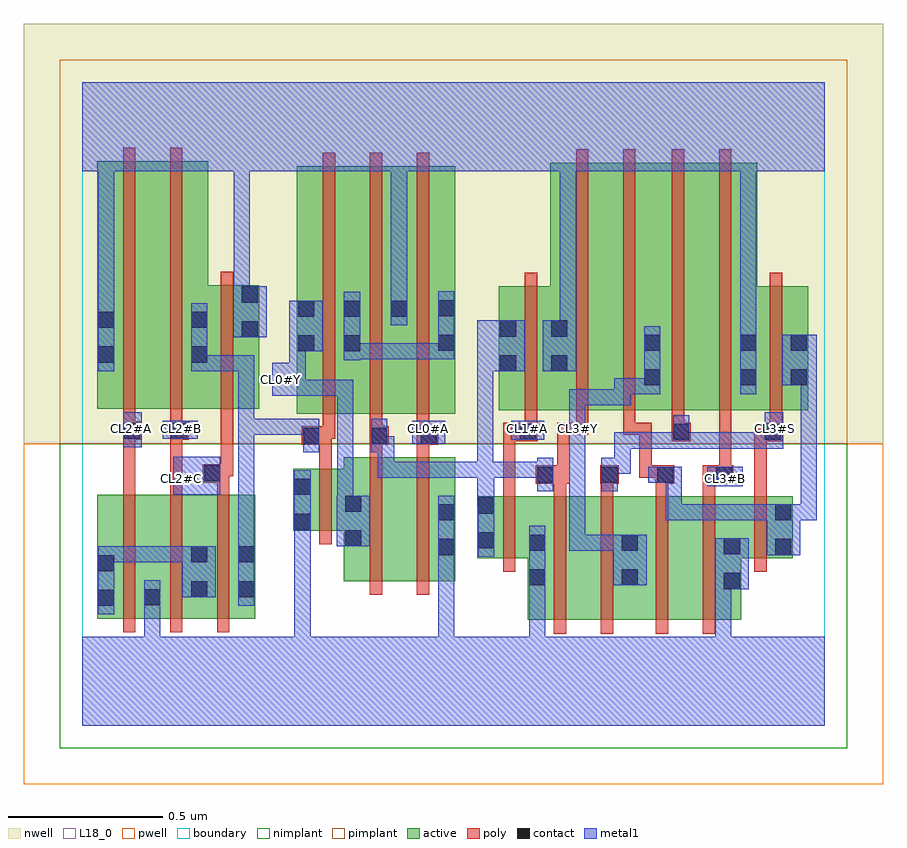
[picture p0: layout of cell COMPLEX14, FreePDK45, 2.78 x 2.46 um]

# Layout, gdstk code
import gdstk
lib = gdstk.Library(unit=1e-6, precision=1e-09)
def R(c, l, rs):  # rectangles x0, y0, x1, y1
    for r in rs: c.add(gdstk.rectangle(r[:2], r[2:], *l))
def A(c, l, x, y, w, h, nx, ny, dx, dy):  # array of equal rectangles
    R(c, l, [(x+i*dx, y+j*dy, x+i*dx+w, y+j*dy+h) for i in range(nx) for j in range(ny)])
active = (1, 0)
pwell = (2, 0)
nwell = (3, 0)
nimplant = (4, 0)
pimplant = (5, 0)
poly = (9, 0)
contact = (10, 0)
metal1 = (11, 0)
L18_0 = (18, 0)
boundary = (235, 0)

complex14 = lib.new_cell('COMPLEX14')
R(complex14, active, [(1.44,0.342,1.62,0.742), (1.62,0.342,1.8,0.742), (1.74,0.342,1.95,0.742), (1.95,0.342,2.13,0.742), (2.07,0.342,2.13,0.61), (0.048,0.346,0.256,0.746), (0.196,0.346,0.408,0.746), (0.196,0.346,0.256,0.474), (0.348,0.346,0.56,0.746), (0.048,0.356,0.108,0.746), (0.348,0.356,0.408,0.584), (0.5,0.356,0.56,0.746), (1.74,0.356,1.8,0.622), (1.44,0.45,1.5,0.742), (0.846,0.468,1.026,0.868), (1.026,0.468,1.206,0.868), (1.146,0.468,1.206,0.868), (1.276,0.542,1.5,0.742), (2.07,0.542,2.296,0.742), (2.236,0.548,2.296,0.742), (1.276,0.57,1.336,0.742), (0.846,0.576,0.906,0.83), (0.682,0.63,0.906,0.83), (0.682,0.63,0.742,0.83), (0.694,1.008,0.754,1.724), (0.694,1.008,0.902,1.808), (0.842,1.008,1.054,1.808), (0.994,1.008,1.206,1.808), (1.146,1.008,1.206,1.724), (1.346,1.02,1.406,1.356), (1.346,1.02,1.572,1.42), (1.512,1.02,1.572,1.356), (1.512,1.02,1.692,1.82), (1.692,1.02,1.872,1.82), (1.812,1.02,2.002,1.82), (2.002,1.02,2.182,1.82), (2.122,1.02,2.182,1.356), (2.122,1.02,2.346,1.42), (2.286,1.02,2.346,1.356), (0.048,1.024,0.228,1.824), (0.048,1.024,0.108,1.756), (0.228,1.024,0.408,1.824), (0.348,1.024,0.572,1.424), (0.348,1.024,0.408,1.724), (0.512,1.024,0.572,1.424), (1.812,1.096,1.872,1.724), (0.842,1.206,0.902,1.724), (0.994,1.206,1.054,1.756)])
R(complex14, pwell, [(-0.188,-0.188,2.588,0.912)])
R(complex14, nwell, [(-0.188,0.912,2.588,2.268)])
R(complex14, nimplant, [(-0.072,-0.072,2.472,0.912)])
R(complex14, pimplant, [(-0.072,0.912,2.472,2.152)])
A(complex14, poly, 0.132, 0.302, 0.04, 0.488, 3, 1, 0.152, 0)
A(complex14, poly, 0.778, 0.928, 0.04, 0.076, 3, 1, 0.152, 0)
A(complex14, poly, 0.778, 0.964, 0.04, 0.888, 3, 1, 0.152, 0)
R(complex14, poly, [(1.524,0.298,1.564,0.786), (1.676,0.298,1.716,0.786), (1.854,0.298,1.894,0.786), (2.006,0.298,2.046,0.786), (0.93,0.424,0.97,0.912), (1.082,0.424,1.122,0.912), (1.36,0.498,1.4,0.786), (2.172,0.498,2.212,0.786), (0.766,0.586,0.806,0.874), (1.36,0.746,1.4,0.96), (1.524,0.746,1.564,0.822), (1.676,0.746,1.716,0.822), (1.854,0.746,1.894,0.822), (2.006,0.746,2.046,0.822), (2.172,0.746,2.212,0.96), (0.132,0.75,0.172,0.964), (0.284,0.75,0.324,0.964), (0.436,0.75,0.476,0.826), (1.466,0.782,1.576,0.842), (1.674,0.782,1.734,0.842), (1.854,0.782,1.914,0.842), (2.006,0.782,2.104,0.842), (0.39,0.786,0.476,0.846), (1.536,0.802,1.576,0.98), (1.8,0.802,1.84,0.842), (1.8,0.802,1.894,0.842), (1.8,0.802,1.84,0.98), (2.058,0.802,2.098,0.842), (2.058,0.802,2.098,0.842), (2.058,0.802,2.098,1.016), (0.436,0.806,0.476,0.846), (0.436,0.806,0.488,0.846), (0.448,0.806,0.488,1.02), (0.766,0.834,0.806,0.948), (0.93,0.872,0.97,0.948), (1.082,0.872,1.122,0.948), (0.71,0.908,0.806,0.968), (0.93,0.908,0.99,0.968), (1.082,0.908,1.122,0.948), (1.082,0.908,1.122,0.948), (1.082,0.908,1.15,0.968), (1.36,0.92,1.4,0.96), (1.36,0.92,1.4,0.96), (1.36,0.92,1.47,0.98), (1.906,0.92,1.966,0.98), (2.172,0.92,2.242,0.96), (2.202,0.92,2.242,0.96), (2.202,0.92,2.262,0.98), (0.132,0.924,0.172,0.964), (0.132,0.924,0.172,0.964), (0.132,0.924,0.192,0.984), (0.284,0.924,0.324,0.964), (0.284,0.924,0.324,0.964), (0.284,0.924,0.344,0.984), (0.766,0.928,0.806,0.968), (0.766,0.928,0.818,0.968), (0.93,0.928,0.97,0.968), (0.93,0.928,0.97,0.968), (1.43,0.94,1.47,1.016), (1.536,0.94,1.636,0.98), (1.596,0.94,1.636,1.016), (1.748,0.94,1.788,1.016), (1.748,0.94,1.788,0.98), (1.748,0.94,1.84,0.98), (1.8,0.94,1.84,0.98), (1.906,0.94,1.946,1.016), (2.222,0.94,2.262,1.016), (0.132,0.944,0.172,1.02), (0.284,0.944,0.324,1.02), (1.43,0.976,1.47,1.464), (1.596,0.976,1.636,1.864), (1.748,0.976,1.788,1.864), (1.906,0.976,1.946,1.864), (2.058,0.976,2.098,1.864), (2.222,0.976,2.262,1.464), (0.132,0.98,0.172,1.868), (0.284,0.98,0.324,1.868), (0.448,0.98,0.488,1.468)])
R(complex14, contact, [(0.052,0.388,0.104,0.44), (0.2,0.39,0.252,0.442), (0.352,0.416,0.404,0.468), (0.504,0.416,0.556,0.468), (2.074,0.442,2.126,0.494), (1.444,0.454,1.496,0.506), (1.744,0.454,1.796,0.506), (0.052,0.5,0.104,0.552), (0.352,0.528,0.404,0.58), (0.504,0.528,0.556,0.58), (1.15,0.552,1.202,0.604), (2.24,0.552,2.292,0.604), (2.074,0.554,2.126,0.606), (1.444,0.566,1.496,0.618), (1.744,0.566,1.796,0.618), (1.28,0.574,1.332,0.626), (0.85,0.58,0.902,0.632), (0.686,0.634,0.738,0.686), (1.15,0.664,1.202,0.716), (2.24,0.664,2.292,0.716), (1.28,0.686,1.332,0.738), (0.85,0.692,0.902,0.744), (0.686,0.746,0.738,0.798), (1.47,0.786,1.522,0.838), (1.678,0.786,1.73,0.838), (1.858,0.786,1.91,0.838), (2.048,0.786,2.1,0.838), (0.394,0.79,0.446,0.842), (0.714,0.912,0.766,0.964), (0.934,0.912,0.986,0.964), (1.094,0.912,1.146,0.964), (1.414,0.924,1.466,0.976), (1.91,0.924,1.962,0.976), (2.206,0.924,2.258,0.976), (0.136,0.928,0.188,0.98), (0.288,0.928,0.34,0.98), (1.816,1.1,1.868,1.152), (2.126,1.1,2.178,1.152), (2.29,1.1,2.342,1.152), (1.35,1.146,1.402,1.198), (1.516,1.146,1.568,1.198), (0.052,1.174,0.104,1.226), (0.352,1.174,0.404,1.226), (0.698,1.21,0.75,1.262), (0.846,1.21,0.898,1.262), (1.15,1.212,1.202,1.264), (1.816,1.212,1.868,1.264), (2.126,1.212,2.178,1.264), (2.29,1.212,2.342,1.264), (0.516,1.256,0.568,1.308), (1.35,1.258,1.402,1.31), (1.516,1.258,1.568,1.31), (0.052,1.286,0.104,1.338), (0.352,1.286,0.404,1.338), (0.698,1.322,0.75,1.374), (0.846,1.322,0.898,1.374), (0.998,1.322,1.05,1.374), (1.15,1.324,1.202,1.376), (0.516,1.368,0.568,1.42)])
R(complex14, metal1, [(0,0,2.4,0.288), (0.2,0.236,0.252,0.414), (0.686,0.236,0.738,0.288), (0.686,0.236,0.738,0.288), (0.686,0.236,0.738,0.658), (1.15,0.236,1.202,0.576), (1.444,0.236,1.496,0.478), (2.046,0.236,2.098,0.494), (0.052,0.36,0.104,0.58), (0.2,0.362,0.252,0.414), (0.2,0.362,0.252,0.414), (0.2,0.362,0.252,0.47), (0.504,0.388,0.556,0.608), (0.324,0.416,0.432,0.58), (1.444,0.426,1.496,0.478), (1.444,0.426,1.496,0.478), (1.444,0.426,1.496,0.646), (2.046,0.442,2.098,0.494), (2.046,0.442,2.098,0.494), (2.046,0.442,2.154,0.606), (1.716,0.454,1.824,0.618), (1.15,0.524,1.202,0.576), (1.15,0.524,1.202,0.576), (1.15,0.524,1.202,0.744), (0.052,0.528,0.104,0.58), (0.052,0.528,0.104,0.58), (0.052,0.528,0.236,0.58), (0.184,0.528,0.236,0.58), (0.184,0.528,0.236,0.58), (0.184,0.528,0.236,0.58), (0.184,0.528,0.376,0.58), (1.28,0.546,1.332,0.766), (2.212,0.552,2.32,0.716), (0.504,0.556,0.556,0.992), (1.574,0.566,1.626,0.618), (1.574,0.566,1.768,0.618), (1.574,0.566,1.626,0.958), (1.716,0.566,1.768,0.618), (1.716,0.566,1.768,0.618), (0.822,0.58,0.93,0.744), (0.686,0.606,0.738,0.658), (0.686,0.606,0.738,0.658), (0.686,0.606,0.738,0.658), (0.686,0.606,0.738,0.658), (0.686,0.606,0.738,0.826), (1.886,0.664,1.938,0.716), (1.886,0.664,2.114,0.716), (1.886,0.664,1.938,0.838), (2.062,0.664,2.114,0.716), (2.062,0.664,2.114,0.716), (2.062,0.664,2.114,0.716), (2.062,0.664,2.264,0.716), (2.212,0.664,2.264,0.716), (2.212,0.664,2.264,0.716), (2.268,0.664,2.32,0.716), (2.268,0.664,2.374,0.716), (2.322,0.664,2.374,1.152), (2.322,0.664,2.374,0.716), (2.322,0.664,2.374,0.716), (0.824,0.692,0.876,0.744), (0.824,0.692,0.876,0.744), (0.824,0.692,0.876,1.118), (1.276,0.714,1.332,0.854), (1.28,0.714,1.332,0.766), (0.294,0.746,0.446,0.87), (1.47,0.758,1.522,0.866), (1.678,0.758,1.73,0.866), (2.02,0.774,2.134,0.838), (1.83,0.786,1.938,0.838), (1.886,0.786,1.938,0.838), (1.886,0.786,1.938,0.838), (0.956,0.802,1.008,0.936), (0.956,0.802,1.218,0.854), (1.166,0.802,1.218,0.854), (1.166,0.802,1.218,0.854), (1.166,0.802,1.218,0.854), (1.166,0.802,1.328,0.854), (1.276,0.802,1.328,0.854), (1.276,0.802,1.328,0.854), (1.276,0.802,1.328,1.198), (1.28,0.802,1.332,0.854), (1.28,0.802,1.332,0.854), (1.28,0.802,1.516,0.854), (1.464,0.802,1.516,0.854), (1.464,0.802,1.522,0.854), (1.678,0.814,1.772,0.866), (1.72,0.814,1.772,0.866), (1.72,0.814,1.772,0.948), (0.714,0.884,0.766,0.992), (0.934,0.884,0.986,0.992), (0.934,0.884,1.008,0.936), (1.72,0.896,1.772,0.948), (1.72,0.896,1.962,0.948), (1.91,0.896,1.962,0.948), (1.91,0.896,1.962,0.948), (1.91,0.896,2.072,0.948), (1.91,0.896,1.962,1.004), (2.02,0.896,2.072,0.948), (2.02,0.896,2.072,0.948), (2.02,0.896,2.072,0.948), (2.02,0.896,2.258,0.948), (2.206,0.896,2.266,1.014), (0.132,0.9,0.192,1.014), (1.574,0.906,1.626,1.014), (1.066,0.912,1.174,0.986), (1.386,0.924,1.494,0.986), (0.26,0.928,0.374,0.986), (0.504,0.94,0.556,0.992), (0.504,0.94,0.556,0.992), (0.504,0.94,0.556,0.992), (0.504,0.94,0.556,1.198), (0.504,0.94,0.766,0.992), (1.574,0.962,1.626,1.088), (1.574,1.036,1.626,1.088), (1.574,1.036,1.626,1.088), (1.574,1.036,1.626,1.088), (1.574,1.036,1.772,1.088), (1.72,1.036,1.772,1.124), (0.614,1.066,0.722,1.174), (0.67,1.066,0.876,1.118), (0.824,1.066,0.876,1.118), (0.824,1.066,0.876,1.118), (0.824,1.066,0.876,1.118), (1.72,1.072,1.868,1.124), (1.816,1.072,1.868,1.292), (2.126,1.072,2.178,1.292), (2.262,1.1,2.374,1.264), (0.67,1.122,0.722,1.262), (0.052,1.146,0.104,1.366), (0.352,1.146,0.404,1.198), (0.352,1.146,0.404,1.198), (0.352,1.146,0.404,1.366), (0.352,1.146,0.556,1.198), (0.504,1.146,0.556,1.198), (0.504,1.146,0.556,1.198), (0.504,1.146,0.556,1.198), (1.276,1.146,1.43,1.31), (1.488,1.146,1.596,1.31), (0.846,1.182,0.898,1.402), (0.846,1.184,1.008,1.236), (0.956,1.184,1.008,1.236), (0.956,1.184,1.008,1.236), (0.956,1.184,1.008,1.236), (0.956,1.184,1.202,1.236), (1.15,1.184,1.202,1.236), (1.15,1.184,1.202,1.236), (1.15,1.184,1.202,1.404), (0.67,1.21,0.778,1.374), (2.126,1.24,2.178,1.844), (0.488,1.256,0.596,1.42), (1.544,1.258,1.596,1.844), (0.998,1.294,1.05,1.402), (0.052,1.314,0.104,1.844), (0.998,1.35,1.05,1.844), (0.49,1.368,0.542,1.42), (0.49,1.368,0.542,1.42), (0.49,1.368,0.542,1.42), (0.49,1.368,0.542,1.42), (0.49,1.368,0.542,1.42), (0.49,1.368,0.542,1.42), (0.49,1.368,0.542,1.42), (0.49,1.368,0.542,1.42), (0.49,1.368,0.542,1.844), (0,1.792,2.4,2.08)])
R(complex14, L18_0, [(0,0,2.4,0.288), (0.2,0.236,0.252,0.414), (0.686,0.236,0.738,0.288), (0.686,0.236,0.738,0.288), (0.686,0.236,0.738,0.658), (1.15,0.236,1.202,0.576), (1.444,0.236,1.496,0.478), (2.046,0.236,2.098,0.494), (0.2,0.362,0.252,0.414), (0.2,0.362,0.252,0.414), (0.2,0.362,0.252,0.47), (1.444,0.426,1.496,0.646), (1.444,0.426,1.496,0.478), (1.444,0.426,1.496,0.478), (2.046,0.442,2.098,0.494), (2.046,0.442,2.098,0.494), (2.046,0.442,2.154,0.606), (1.716,0.454,1.824,0.618), (1.15,0.524,1.202,0.744), (1.15,0.524,1.202,0.576), (1.15,0.524,1.202,0.576), (1.574,0.566,1.626,0.618), (1.574,0.566,1.626,0.958), (1.574,0.566,1.768,0.618), (1.716,0.566,1.768,0.618), (1.716,0.566,1.768,0.618), (0.822,0.58,0.93,0.744), (0.686,0.606,0.738,0.826), (0.686,0.606,0.738,0.658), (0.686,0.606,0.738,0.658), (0.686,0.606,0.738,0.658), (0.686,0.606,0.738,0.658), (0.824,0.692,0.876,0.744), (0.824,0.692,0.876,0.744), (0.824,0.692,0.876,1.118), (0.294,0.746,0.446,0.87), (1.678,0.758,1.73,0.866), (0.294,0.774,0.346,0.826), (2.02,0.774,2.134,0.838), (2.054,0.774,2.106,0.826), (1.678,0.814,1.772,0.866), (1.72,0.814,1.772,0.866), (1.72,0.814,1.772,0.948), (1.72,0.896,1.772,0.948), (1.72,0.896,1.962,0.948), (1.91,0.896,1.962,0.948), (1.91,0.896,1.962,0.948), (1.91,0.896,1.962,1.004), (1.91,0.896,2.072,0.948), (2.02,0.896,2.072,0.948), (2.02,0.896,2.072,0.948), (2.02,0.896,2.072,0.948), (2.02,0.896,2.258,0.948), (2.206,0.896,2.266,1.014), (0.132,0.9,0.192,1.014), (1.574,0.906,1.626,1.014), (1.066,0.912,1.174,0.986), (1.386,0.924,1.494,0.986), (0.26,0.928,0.374,0.986), (0.134,0.934,0.186,0.986), (0.294,0.934,0.346,0.986), (1.094,0.934,1.146,0.986), (1.414,0.934,1.466,0.986), (1.574,0.934,1.626,0.986), (2.214,0.934,2.266,0.986), (1.574,0.962,1.626,1.088), (1.574,1.036,1.626,1.088), (1.574,1.036,1.626,1.088), (1.574,1.036,1.626,1.088), (1.574,1.036,1.772,1.088), (1.72,1.036,1.772,1.124), (0.614,1.066,0.722,1.174), (0.67,1.066,0.876,1.118), (0.824,1.066,0.876,1.118), (0.824,1.066,0.876,1.118), (0.824,1.066,0.876,1.118), (1.72,1.072,1.868,1.124), (1.816,1.072,1.868,1.292), (2.126,1.072,2.178,1.292), (0.614,1.094,0.666,1.146), (0.67,1.122,0.722,1.262), (0.052,1.146,0.104,1.366), (1.488,1.146,1.596,1.31), (0.67,1.21,0.778,1.374), (2.126,1.24,2.178,1.844), (0.488,1.256,0.596,1.42), (1.544,1.258,1.596,1.844), (0.998,1.294,1.05,1.402), (0.052,1.314,0.104,1.844), (0.998,1.35,1.05,1.844), (0.49,1.368,0.542,1.42), (0.49,1.368,0.542,1.42), (0.49,1.368,0.542,1.42), (0.49,1.368,0.542,1.42), (0.49,1.368,0.542,1.42), (0.49,1.368,0.542,1.42), (0.49,1.368,0.542,1.42), (0.49,1.368,0.542,1.42), (0.49,1.368,0.542,1.844), (0,1.792,2.4,2.08)])
R(complex14, boundary, [(0,0,2.4,2.08)])
complex14.add(gdstk.Label('CL0#A', (1.12,0.96), layer=11, texttype=0))
complex14.add(gdstk.Label('CL0#Y', (0.64,1.12), layer=11, texttype=0))
complex14.add(gdstk.Label('CL1#A', (1.44,0.96), layer=11, texttype=0))
complex14.add(gdstk.Label('CL2#A', (0.16,0.96), layer=11, texttype=0))
complex14.add(gdstk.Label('CL2#B', (0.32,0.96), layer=11, texttype=0))
complex14.add(gdstk.Label('CL2#C', (0.32,0.8), layer=11, texttype=0))
complex14.add(gdstk.Label('CL3#B', (2.08,0.8), layer=11, texttype=0))
complex14.add(gdstk.Label('CL3#S', (2.24,0.96), layer=11, texttype=0))
complex14.add(gdstk.Label('CL3#Y', (1.6,0.96), layer=11, texttype=0))

lib.write_gds('COMPLEX14.gds')
